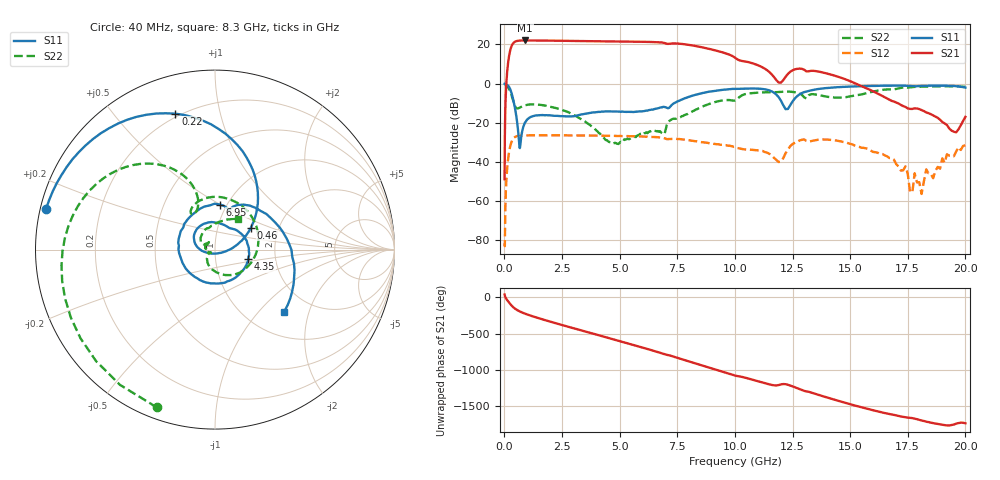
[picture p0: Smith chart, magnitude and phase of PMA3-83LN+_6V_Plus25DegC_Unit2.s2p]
!Mini-Circuits Laboratory
!Date: 9/18/2015 at 7:47:39 AM
!S2P DATA File Format
!Type: MMIC Amplifier
!Model: PMA3-83LN+
!S/N: Unit 2
!Fixture: Unit soldered on TB-830A+ RUN  MN61900 D/C 1537, no port extension
!PIN OUT: PORT 1 - PIN 2, PORT 2 - PIN 8, GROUND - PADDLE, DC POWER SUPPLY - PIN 8, NOT CONNECTED - PINS 1,3 to 7, 9 to 12
!TEST CONDITIONS: Temp= 25 (Deg C) RF Power= -25.00 (dBm) V limit=6(V) I limit=150(mA) Z=50 OHM
!WAFER/LOT#: CP483P004-02, CP483P004-03,CP483P004-04,
!Network Analyzer: PNA-X N5242A S/N 71404 CAL DUE: 09/10/2016
!P.Supply/Multimeter: HP E3632A S/N 63249 CAL DUE: 12/11/2015
!Power Meter: Agilent U2000A S/N 74434 CAL DUE: 10/17/2015
# Hz  S  dB  R  50
!Frequency  S11 dB  S11 Deg  S21 dB  S21 Deg  S12 dB  S12 Deg  S22 dB  S22 Deg
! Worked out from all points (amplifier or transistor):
!   380 points, 10 MHz to 20 GHz, reference 50 ohm
!   highest |S21| = 22.0 dB at 900 MHz (marker M1)
!   |S21| within 3 dB of that: 307.8 MHz to 8.369 GHz (8.061 GHz wide, 186 % of centre)
!   unconditionally stable (mu >= 1): start of sweep to end of sweep
!   at 640 MHz: K = 1.10, MAG = 22.4 dB, |S12| = -26.7 dB
!   at 5.55 GHz: K = 1.17, MAG = 21.7 dB, |S12| = -26.9 dB
!   at 20 GHz: K = 16.23, MAG = -7.9 dB, |S12| = -31.5 dB
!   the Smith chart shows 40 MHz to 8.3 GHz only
!   S11 on the Smith chart (normalised r, x): 40 MHz: 0.02, +0.12; 220 MHz: 0.18, +0.73; 460 MHz: 1.44, +0.38; 4.35 GHz: 1.45, -0.16; 6.95 GHz: 0.93, +0.50; 8.3 GHz: 1.47, -1.39
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1e7  -0.13 173.7  -48.88 34.9  -81.70 -135.0  -0.00 -35.3
4e7  -0.28 166.5  -13.31 0.1  -64.54 -147.3  -0.57 -110.3
2.2e8  -2.06 106.2  15.18 -81.8  -33.91 111.6  -3.11 140.6
4.6e8  -12.56 31.5  21.40 -158.4  -27.32 35.7  -11.52 110.7
9e8  -19.89 170.5  22.04 132.0  -26.49 -28.4  -11.08 112.5
1.45e9  -16.20 124.8  22.00 73.9  -26.44 -77.8  -10.76 68.2
2.15e9  -16.46 87.6  21.93 8.4  -26.42 -131.4  -12.26 8.7
2.8e9  -16.78 60.4  21.78 -50.0  -26.51 -178.8  -14.78 -47.2
3.35e9  -15.74 40.4  21.74 -98.2  -26.51 142.4  -18.33 -90.1
4.35e9  -14.29 -15.6  21.57 173.9  -26.66 71.5  -28.25 -147.8
4.95e9  -14.32 -59.9  21.48 121.3  -26.80 29.1  -30.88 -142.5
5.45e9  -14.43 -105.7  21.43 76.8  -26.92 -6.4  -28.18 -158.9
6.1e9  -13.95 -174.1  21.34 17.9  -27.15 -53.1  -25.37 169.4
6.7e9  -12.53 115.9  21.14 -38.7  -27.45 -97.4  -24.63 133.8
6.95e9  -11.96 83.3  20.70 -63.7  -27.96 -116.6  -25.75 149.3
7.55e9  -8.94 29.4  20.43 -117.6  -28.33 -156.3  -17.50 96.2
8.3e9  -5.71 -41.9  19.19 168.2  -29.47 150.7  -13.32 52.8
9.05e9  -3.85 -107.2  17.25 96.0  -30.68 101.3  -9.74 1.1
1.01e10  -2.71 163.3  12.44 -3.5  -32.92 33.3  -7.94 -57.4
1.34e10  -3.22 -41.4  6.51 121.3  -29.16 -144.7  -5.41 65.3
1.67e10  -1.08 79.4  -8.17 -164.7  -38.04 -82.7  -2.97 108.7
2e10  -2.05 -84.2  -17.03 68.3  -31.53 -110.6  -1.65 -71.2
